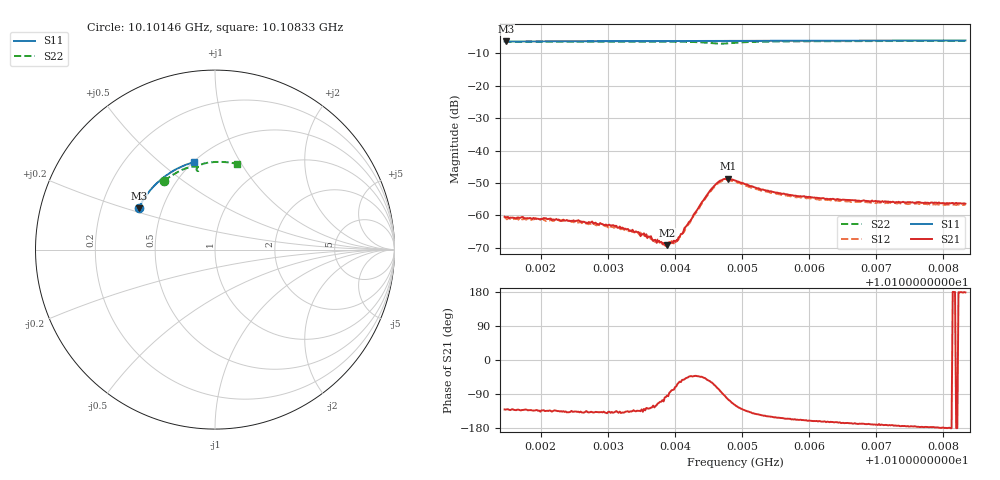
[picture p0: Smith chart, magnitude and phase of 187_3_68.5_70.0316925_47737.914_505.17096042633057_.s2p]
#  HZ  S  RI  R  50.00
! Rohde & Schwarz Vector Network Analyzer
! Rohde-Schwarz,ZNB20-2Port,1311601062101988,3.16
! Created: UTC 3/20/2024, 4:56:58 PM
! freq[Hz]  re:S11  im:S11  re:S21  im:S21  re:S12  im:S12  re:S22  im:S22
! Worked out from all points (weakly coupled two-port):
!   401 points, 10.10146 GHz to 10.10833 GHz, reference 50 ohm
!   highest |S21| = -48.69 dB at 10.10479 GHz (marker M1); lowest = -69.2 dB at 10.10388 GHz (marker M2)
!   lowest |S11| = -6.3 dB at 10.10148 GHz (marker M3), VSWR 2.87, Z = 18.4 + j11 ohm
!   |S11| at or under -10 dB: nowhere
!   |S22| runs from -7.0 to -6.1 dB; largest |S21 - S12| = 0.00036
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1.0101461e10  -0.4257 0.2293  -0.00062 -0.000724  -0.000544 -0.000728  -0.2829 0.3828
1.0101478e10  -0.4251 0.2302  -0.000612 -0.00071  -0.00054 -0.000741  -0.2819 0.3834
1.0102612e10  -0.3911 0.2902  -0.000597 -0.000534  -0.000502 -0.000572  -0.221 0.4253
1.0103093e10  -0.3741 0.314  -0.000517 -0.000461  -0.00043 -0.000482  -0.1926 0.4401
1.0103522e10  -0.358 0.3344  -0.000372 -0.000352  -0.0003 -0.000426  -0.1654 0.4515
1.0103608e10  -0.3544 0.3383  -0.000294 -0.000374  -0.000243 -0.000386  -0.1597 0.4536
1.0103694e10  -0.3511 0.3423  -0.000241 -0.000341  -0.000175 -0.000367  -0.1539 0.4555
1.0103763e10  -0.3483 0.3454  -0.000155 -0.000368  -0.000157 -0.000381  -0.1491 0.4571
1.0103831e10  -0.3454 0.3485  -0.000124 -0.000354  -6.78e-05 -0.000351  -0.1442 0.4584
1.0103883e10  -0.3432 0.3507  -2.25e-05 -0.000346  5.63e-06 -0.000353  -0.1404 0.4592
1.0104003e10  -0.3383 0.356  0.000124 -0.000369  0.000164 -0.000364  -0.1314 0.4612
1.0104072e10  -0.3353 0.3591  0.000254 -0.000393  0.000265 -0.000391  -0.1258 0.4618
1.0104432e10  -0.3197 0.3742  0.0012 -0.00128  0.00126 -0.00114  -0.0949 0.4563
1.0104587e10  -0.3127 0.3805  0.00117 -0.00262  0.00134 -0.00242  -0.0885 0.4439
1.010469e10  -0.3081 0.3845  0.000321 -0.00346  0.000616 -0.00331  -0.0935 0.4375
1.0104793e10  -0.3034 0.3886  -0.000889 -0.00357  -0.000542 -0.00346  -0.1009 0.4407
1.0104896e10  -0.2987 0.3926  -0.00167 -0.00304  -0.00134 -0.00302  -0.1025 0.4498
1.0105257e10  -0.2816 0.4063  -0.00211 -0.00152  -0.00189 -0.00161  -0.0814 0.4718
1.0105446e10  -0.2724 0.4132  -0.00202 -0.00117  -0.00183 -0.00126  -0.0677 0.4772
1.0106047e10  -0.2421 0.4333  -0.0018 -0.000618  -0.00168 -0.000734  -0.026 0.486
1.0107197e10  -0.1802 0.465  -0.0016 -0.000233  -0.00155 -0.000364  0.0499 0.4881
1.0108331e10  -0.1153 0.4876  -0.00152 4.25e-05  -0.00145 -9.64e-05  0.1219 0.4778
